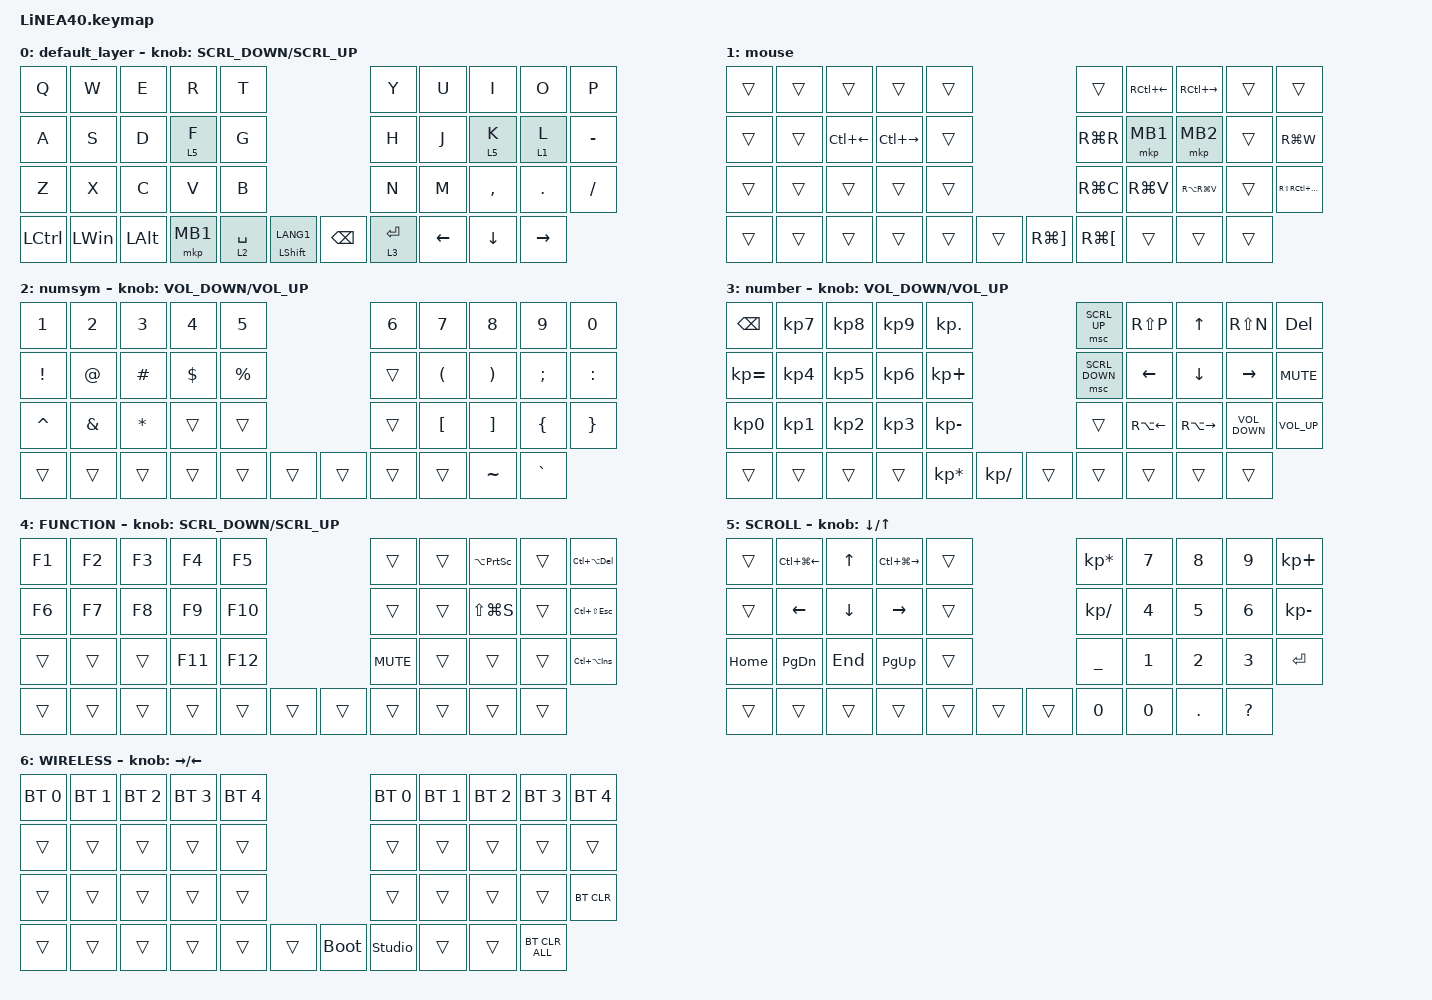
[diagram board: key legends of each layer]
#define ZMK_POINTING_DEFAULT_SCRL_VAL 150

#include <dt-bindings/zmk/input_transform.h>
#include <input/processors.dtsi>
#include <zephyr/dt-bindings/input/input-event-codes.h>
#include <behaviors.dtsi>
#include <dt-bindings/zmk/bt.h>
#include <dt-bindings/zmk/keys.h>
#include <dt-bindings/zmk/pointing.h>

#define MOUSE 1
#define MARK 2
#define CURSOR 3
#define FUNCTION 4
#define SCROLL 5
#define WIRELESS 6

//mouse cursol

&mmv {
    delay-ms = <20>;
    trigger-period-ms = <5>;
    time-to-max-speed-ms = <100>;
    acceleration-exponent = <2>;
};

//mouse scroll

&msc {
    delay-ms = <3>;
    trigger-period-ms = <3>;
    time-to-max-speed-ms = <100>;
    acceleration-exponent = <0>;
};

/ {
    input_processors {
        zip_wheel_scaler: zip_wheel_scaler {
            compatible = "zmk,input-processor-scaler";
            #input-processor-cells = <2>;
            type = <INPUT_EV_REL>;
            codes = <INPUT_REL_WHEEL>;
            track-remainders;
        };
    };
};

&msc_input_listener {
    speed_up {
        layers = <FUNCTION>;
        input-processors = <&zip_wheel_scaler 3 1>; //スクロールを3倍速にする
    };
};

&trackball_listener {
    scroller {
        layers = <SCROLL>;
        input-processors =
            <&zip_xy_transform INPUT_TRANSFORM_Y_INVERT>,
            //スクロール方向を逆転,,,,,,,,,,,,,,,,,,,,,,,,,,,,
            <&zip_xy_to_scroll_mapper>;
    };
};

/ {
    combos {
        compatible = "zmk,combos";

        mb3 {
            bindings = <&mkp MB3>;
            key-positions = <16 17>;
        };

        lang2 {
            bindings = <&kp LANG2>;
            key-positions = <13 12>;
        };

        studiounlock {
            bindings = <&studio_unlock>;
            key-positions = <35 36>;
        };

        mb2 {
            bindings = <&mkp MB2>;
            key-positions = <17 18>;
        };

        blue {
            bindings = <&lt 6 ESC>;
            key-positions = <30 31 32>;
        };

        esc {
            bindings = <&kp ESCAPE>;
            key-positions = <0 1>;
        };

        up {
            bindings = <&kp UP_ARROW>;
            key-positions = <27 28 29>;
        };

        f7 {
            bindings = <&kp F7>;
            key-positions = <6 7>;
        };

        f10 {
            bindings = <&kp F10>;
            key-positions = <7 8>;
        };
    };

    behaviors {
        re_kp: sensor_rotate_kp {
            compatible = "zmk,behavior-sensor-rotate-var";
            #sensor-binding-cells = <2>;
            bindings = <&kp>, <&kp>;
        };

        mouse_scrl: mouse_wheel_scrl {
            compatible = "zmk,behavior-sensor-rotate-var";
            #sensor-binding-cells = <2>;
            bindings = <&msc>, <&msc>;

            tap-ms = <20>;
        };

        shft_zen: shft_zen {
            compatible = "zmk,behavior-hold-tap";
            #binding-cells = <2>;
            flavor = "tap-preferred";
            tapping-term-ms = <200>;
            bindings = <&kp>, <&zenhan>;
        };
    };

    macros {
        zenhan: zenhan {
            compatible = "zmk,behavior-macro";
            #binding-cells = <0>;
            wait-ms = <40>;
            tap-ms = <40>;
            bindings =
                <&macro_press>,
                <&kp LEFT_ALT>,
                <&macro_wait_time 60>,
                <&macro_press>,
                <&kp GRAVE>,
                <&macro_wait_time 60>,
                <&macro_release>,
                <&kp GRAVE>,
                <&macro_wait_time 60>,
                <&macro_release>,
                <&kp LEFT_ALT>;

            label = "ZENHAN";
        };
    };

    keymap {
        compatible = "zmk,keymap";

        default_layer {
            bindings = <
&kp Q      &kp W         &kp E         &kp R     &kp T                                               &kp Y        &kp U  &kp I           &kp O           &kp P
&kp A      &kp S         &kp D         &lt 5 F   &kp G                                               &kp H        &kp J  &lt 5 K         &lt 1 L         &kp MINUS
&kp Z      &kp X         &kp C         &kp V     &kp B                                               &kp N        &kp M  &kp COMMA       &kp DOT         &kp SLASH
&kp LCTRL  &kp LEFT_WIN  &kp LEFT_ALT  &mkp MB1  &lt 2 SPACE  &mt LEFT_SHIFT LANG1    &kp BACKSPACE  &lt 3 ENTER         &kp LEFT_ARROW  &kp DOWN_ARROW  &kp RIGHT_ARROW
            >;

            sensor-bindings = <&mouse_scrl SCRL_DOWN SCRL_UP>;
        };

        //1

        mouse {
            bindings = <
&trans  &trans  &trans              &trans               &trans                                   &trans                &kp RC(LEFT_ARROW)  &kp RC(RIGHT_ARROW)  &trans  &trans
&trans  &trans  &kp LC(LEFT_ARROW)  &kp LC(RIGHT_ARROW)  &trans                                   &kp RG(R)             &mkp MB1            &mkp MB2             &trans  &kp RG(W)
&trans  &trans  &trans              &trans               &trans                                   &kp RG(C)             &kp RG(V)           &kp RA(RG(V))        &trans  &kp RS(RC(RG(NUMBER_4)))
&trans  &trans  &trans              &trans               &trans  &trans    &kp RG(RIGHT_BRACKET)  &kp RG(LEFT_BRACKET)                      &trans               &trans  &trans
            >;
        };

        //2

        numsym {
            bindings = <
&kp NUMBER_1  &kp NUMBER_2  &kp NUMBER_3  &kp NUMBER_4  &kp N5                         &kp NUMBER_6  &kp N7                &kp N8                 &kp N9          &kp N0
&kp EXCL      &kp AT        &kp HASH      &kp DOLLAR    &kp PERCENT                    &trans        &kp LEFT_PARENTHESIS  &kp RIGHT_PARENTHESIS  &kp SEMI        &kp COLON
&kp CARET     &kp AMPS      &kp ASTRK     &trans        &trans                         &trans        &kp LEFT_BRACKET      &kp RIGHT_BRACKET      &kp LEFT_BRACE  &kp RIGHT_BRACE
&trans        &trans        &trans        &trans        &trans       &trans    &trans  &trans                              &trans                 &kp TILDE       &kp GRAVE
            >;

            sensor-bindings = <&re_kp C_VOLUME_DOWN C_VOLUME_UP>;
        };

        //3

        number {
            bindings = <
&kp BACKSPACE    &kp KP_NUMBER_7  &kp KP_NUMBER_8  &kp KP_NUMBER_9  &kp KP_DOT                               &msc SCRL_UP    &kp RS(P)           &kp UP_ARROW         &kp RS(N)          &kp DEL
&kp KP_EQUAL     &kp KP_NUMBER_4  &kp KP_NUMBER_5  &kp KP_NUMBER_6  &kp KP_PLUS                              &msc SCRL_DOWN  &kp LEFT_ARROW      &kp DOWN_ARROW       &kp RIGHT_ARROW    &kp K_MUTE
&kp KP_NUMBER_0  &kp KP_NUMBER_1  &kp KP_NUMBER_2  &kp KP_NUMBER_3  &kp KP_MINUS                             &trans          &kp RA(LEFT_ARROW)  &kp RA(RIGHT_ARROW)  &kp C_VOLUME_DOWN  &kp C_VOLUME_UP
&trans           &trans           &trans           &trans           &kp KP_MULTIPLY  &kp KP_SLASH    &trans  &trans                              &trans               &trans             &trans
            >;

            sensor-bindings = <&inc_dec_kp C_VOLUME_DOWN C_VOLUME_UP>;
        };

        //4

        FUNCTION {
            bindings = <
&kp F1  &kp F2  &kp F3  &kp F4   &kp F5                     &trans      &trans  &kp LA(PRINTSCREEN)  &trans  &kp LC(LA(DELETE))
&kp F6  &kp F7  &kp F8  &kp F9   &kp F10                    &trans      &trans  &kp LS(LG(S))        &trans  &kp LC(LS(ESCAPE))
&trans  &trans  &trans  &kp F11  &kp F12                    &kp C_MUTE  &trans  &trans               &trans  &kp LC(LA(INS))
&trans  &trans  &trans  &trans   &trans   &trans    &trans  &trans              &trans               &trans  &trans
            >;

            sensor-bindings = <&mouse_scrl SCRL_DOWN SCRL_UP>;
        };

        //5

        SCROLL {
            bindings = <
&trans    &kp LC(LG(LEFT_ARROW))  &kp UP_ARROW  &kp LC(LG(RIGHT_ARROW))  &trans                    &kp KP_MULTIPLY  &kp NUMBER_7  &kp NUMBER_8  &kp NUMBER_9  &kp KP_PLUS
&trans    &kp LEFT_ARROW          &kp DOWN      &kp RIGHT_ARROW          &trans                    &kp KP_SLASH     &kp NUMBER_4  &kp NUMBER_5  &kp NUMBER_6  &kp KP_MINUS
&kp HOME  &kp PAGE_DOWN           &kp END       &kp PAGE_UP              &trans                    &kp UNDER        &kp NUMBER_1  &kp NUMBER_2  &kp NUMBER_3  &kp ENTER
&trans    &trans                  &trans        &trans                   &trans  &trans    &trans  &kp NUMBER_0                   &kp NUMBER_0  &kp DOT       &kp QUESTION
            >;

            sensor-bindings = <&inc_dec_kp DOWN_ARROW UP_ARROW>;
        };

        //6

        WIRELESS {
            bindings = <
&bt BT_SEL 0  &bt BT_SEL 1  &bt BT_SEL 2  &bt BT_SEL 3  &bt BT_SEL 4                         &bt BT_SEL 0    &bt BT_SEL 1  &bt BT_SEL 2  &bt BT_SEL 3  &bt BT_SEL 4
&trans        &trans        &trans        &trans        &trans                               &trans          &trans        &trans        &trans        &trans
&trans        &trans        &trans        &trans        &trans                               &trans          &trans        &trans        &trans        &bt BT_CLR
&trans        &trans        &trans        &trans        &trans        &trans    &bootloader  &studio_unlock                &trans        &trans        &bt BT_CLR_ALL
            >;

            sensor-bindings = <&inc_dec_kp RIGHT_ARROW LEFT_ARROW>;
        };
    };
};
